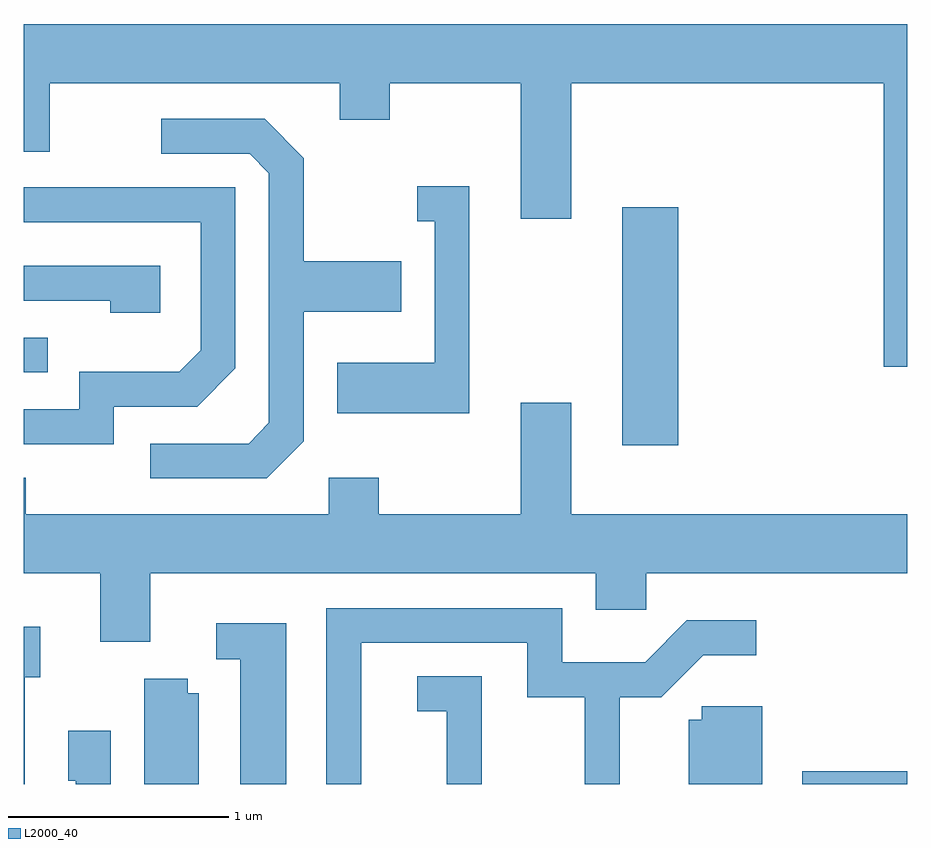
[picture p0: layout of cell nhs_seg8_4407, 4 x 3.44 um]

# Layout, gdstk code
import gdstk
lib = gdstk.Library(unit=1e-6, precision=1e-09)
def R(c, l, rs):  # rectangles x0, y0, x1, y1
    for r in rs: c.add(gdstk.rectangle(r[:2], r[2:], *l))
def P(c, l, *ps):  # polygons
    for p in ps: c.add(gdstk.Polygon(p, *l))
L2000_40 = (2000, 40)

nhs_seg8_4407 = lib.new_cell('nhs_seg8_4407')
R(nhs_seg8_4407, L2000_40, [(321.136,1844.342,321.611,1844.399), (320.321,1845.876,320.574,1846.954), (317.611,1846.206,317.718,1846.364)])
P(nhs_seg8_4407, L2000_40, [(321.611,1847.784),(317.611,1847.784),(317.611,1847.206),(317.729,1847.206),(317.729,1847.516),(319.041,1847.516),(319.041,1847.351),(319.269,1847.351),(319.269,1847.516),(319.861,1847.516),(319.861,1846.901),(320.089,1846.901),(320.089,1847.516),(321.506,1847.516),(321.506,1846.231),(321.611,1846.231)],
  [(318.879,1845.894),(318.879,1846.481),(319.319,1846.481),(319.319,1846.709),(318.879,1846.709),(318.879,1847.177),(318.702,1847.354),(318.233,1847.354),(318.233,1847.196),(318.634,1847.196),(318.721,1847.109),(318.721,1845.977),(318.629,1845.884),(318.183,1845.884),(318.183,1845.726),(318.712,1845.726)],
  [(319.629,1847.049),(319.393,1847.049),(319.393,1846.891),(319.471,1846.891),(319.471,1846.249),(319.031,1846.249),(319.031,1846.021),(319.629,1846.021)],
  [(318.019,1846.051),(318.397,1846.051),(318.569,1846.224),(318.569,1847.044),(317.611,1847.044),(317.611,1846.886),(318.411,1846.886),(318.411,1846.307),(318.314,1846.209),(317.861,1846.209),(317.861,1846.039),(317.611,1846.039),(317.611,1845.881),(318.019,1845.881)],
  [(318.229,1846.689),(317.611,1846.689),(317.611,1846.531),(318.001,1846.531),(318.001,1846.476),(318.229,1846.476)],
  [(318.184,1845.296),(320.201,1845.296),(320.201,1845.131),(320.429,1845.131),(320.429,1845.296),(321.611,1845.296),(321.611,1845.564),(320.089,1845.564),(320.089,1846.069),(319.861,1846.069),(319.861,1845.564),(319.219,1845.564),(319.219,1845.729),(318.991,1845.729),(318.991,1845.564),(317.619,1845.564),(317.619,1845.729),(317.611,1845.729),(317.611,1845.296),(317.956,1845.296),(317.956,1844.986),(318.184,1844.986)],
  [(319.139,1844.981),(319.891,1844.981),(319.891,1844.736),(320.151,1844.736),(320.151,1844.342),(320.309,1844.342),(320.309,1844.736),(320.497,1844.736),(320.687,1844.926),(320.928,1844.926),(320.928,1845.084),(320.614,1845.084),(320.424,1844.894),(320.049,1844.894),(320.049,1845.139),(318.981,1845.139),(318.981,1844.342),(319.139,1844.342)],
  [(318.799,1845.069),(318.483,1845.069),(318.483,1844.906),(318.591,1844.906),(318.591,1844.342),(318.799,1844.342)],
  [(317.614,1844.826),(317.684,1844.826),(317.684,1845.054),(317.611,1845.054),(317.611,1844.342),(317.614,1844.342)],
  [(319.684,1844.829),(319.393,1844.829),(319.393,1844.671),(319.526,1844.671),(319.526,1844.342),(319.684,1844.342)],
  [(318.404,1844.754),(318.354,1844.754),(318.354,1844.819),(318.156,1844.819),(318.156,1844.342),(318.404,1844.342)],
  [(320.954,1844.694),(320.681,1844.694),(320.681,1844.634),(320.621,1844.634),(320.621,1844.342),(320.954,1844.342)],
  [(318.004,1844.584),(317.811,1844.584),(317.811,1844.356),(317.846,1844.356),(317.846,1844.342),(318.004,1844.342)])

lib.write_gds('nhs_seg8_4407.gds')
